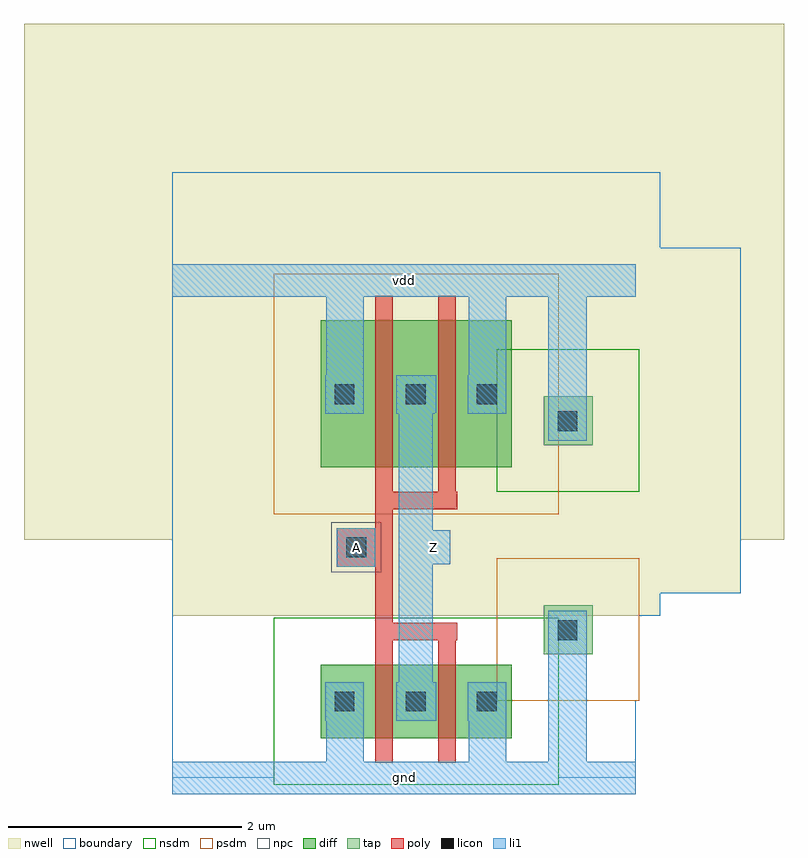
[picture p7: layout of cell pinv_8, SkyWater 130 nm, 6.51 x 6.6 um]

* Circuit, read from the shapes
.subckt pinv_8 A Z gnd vdd
XM1 Z A gnd gnd sky130_fd_pr__nfet_01v8 w=0.63 l=0.15 m=2
XM2 Z A vdd vdd sky130_fd_pr__pfet_01v8 w=1.26 l=0.15 m=2
.ends

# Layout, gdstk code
import gdstk
lib = gdstk.Library(unit=1e-6, precision=1e-09)
def R(c, l, rs):  # rectangles x0, y0, x1, y1
    for r in rs: c.add(gdstk.rectangle(r[:2], r[2:], *l))
nwell = (64, 20)
diff = (65, 20)
tap = (65, 44)
poly = (66, 20)
licon = (66, 44)
li1 = (67, 20)
nsdm = (93, 44)
psdm = (94, 20)
npc = (95, 20)
boundary = (235, 4)

contact_12 = lib.new_cell('contact_12')
R(contact_12, nwell, [(-1.27,-1.27,1.69,1.69)])
R(contact_12, diff, [(0,0,0.42,0.42)])
R(contact_12, licon, [(0.12,0.12,0.29,0.29)])
R(contact_12, li1, [(0.04,0.04,0.37,0.37)])
R(contact_12, psdm, [(-0.4,-0.4,0.82,0.82)])
R(contact_12, boundary, [(-1.27,-1.27,1.69,1.69)])

pmos_m2_w1_260_sli_dli_d = lib.new_cell('pmos_m2_w1_260_sli_dli_da_p')
R(pmos_m2_w1_260_sli_dli_d, nwell, [(-1.27,-1.27,2.91,2.53)])
R(pmos_m2_w1_260_sli_dli_d, diff, [(0,0,1.64,1.26)])
R(pmos_m2_w1_260_sli_dli_d, poly, [(0.47,-0.36,1.17,-0.21), (0.47,-0.21,0.62,1.47), (1.01,-0.21,1.16,1.47)])
R(pmos_m2_w1_260_sli_dli_d, li1, [(0.05,0.47,0.37,0.79), (0.65,0.47,0.99,0.79), (1.27,0.47,1.59,0.79)])
R(pmos_m2_w1_260_sli_dli_d, psdm, [(-0.4,-0.4,2.04,1.66)])
R(pmos_m2_w1_260_sli_dli_d, boundary, [(-1.27,-1.27,2.91,2.53)])
pmos_m2_w1_260_sli_dli_d.add(gdstk.Reference(contact_12, (0,0.42)))
pmos_m2_w1_260_sli_dli_d.add(gdstk.Reference(contact_12, (0.61,0.42)))
pmos_m2_w1_260_sli_dli_d.add(gdstk.Reference(contact_12, (1.22,0.42)))
pmos_m2_w1_260_sli_dli_d.add(gdstk.Label('G', (0.82,-0.285), layer=66, texttype=20))
pmos_m2_w1_260_sli_dli_d.add(gdstk.Label('S', (1.43,0.63), layer=67, texttype=20))
pmos_m2_w1_260_sli_dli_d.add(gdstk.Label('S', (0.21,0.63), layer=67, texttype=20))
pmos_m2_w1_260_sli_dli_d.add(gdstk.Label('D', (0.82,0.63), layer=67, texttype=20))

contact_11 = lib.new_cell('contact_11')
R(contact_11, diff, [(0,0,0.42,0.42)])
R(contact_11, licon, [(0.12,0.12,0.29,0.29)])
R(contact_11, li1, [(0.04,0.04,0.37,0.37)])
R(contact_11, nsdm, [(-0.4,-0.4,0.82,0.82)])
R(contact_11, boundary, [(-0.4,-0.4,0.82,0.82)])

nmos_m2_w0_630_sli_dli_d = lib.new_cell('nmos_m2_w0_630_sli_dli_da_p')
R(nmos_m2_w0_630_sli_dli_d, diff, [(0,0,1.64,0.63)])
R(nmos_m2_w0_630_sli_dli_d, poly, [(0.47,-0.21,0.62,0.84), (1.01,-0.21,1.16,0.84), (0.47,0.84,1.17,0.99)])
R(nmos_m2_w0_630_sli_dli_d, li1, [(0.05,0.15,0.37,0.48), (0.65,0.15,0.99,0.48), (1.27,0.15,1.59,0.48)])
R(nmos_m2_w0_630_sli_dli_d, nsdm, [(-0.4,-0.4,2.04,1.03)])
R(nmos_m2_w0_630_sli_dli_d, boundary, [(-0.4,-0.4,2.04,1.03)])
nmos_m2_w0_630_sli_dli_d.add(gdstk.Reference(contact_11, (0,0.11)))
nmos_m2_w0_630_sli_dli_d.add(gdstk.Reference(contact_11, (0.61,0.11)))
nmos_m2_w0_630_sli_dli_d.add(gdstk.Reference(contact_11, (1.22,0.11)))
nmos_m2_w0_630_sli_dli_d.add(gdstk.Label('G', (0.82,0.915), layer=66, texttype=20))
nmos_m2_w0_630_sli_dli_d.add(gdstk.Label('S', (1.43,0.315), layer=67, texttype=20))
nmos_m2_w0_630_sli_dli_d.add(gdstk.Label('S', (0.21,0.315), layer=67, texttype=20))
nmos_m2_w0_630_sli_dli_d.add(gdstk.Label('D', (0.82,0.315), layer=67, texttype=20))

contact_13 = lib.new_cell('contact_13')
R(contact_13, nwell, [(-1.27,-1.27,1.69,1.69)])
R(contact_13, tap, [(0,0,0.42,0.42)])
R(contact_13, licon, [(0.12,0.12,0.29,0.29)])
R(contact_13, li1, [(0.04,0.04,0.37,0.37)])
R(contact_13, nsdm, [(-0.4,-0.4,0.82,0.82)])
R(contact_13, boundary, [(-1.27,-1.27,1.69,1.69)])

contact_14 = lib.new_cell('contact_14')
R(contact_14, tap, [(0,0,0.42,0.42)])
R(contact_14, licon, [(0.12,0.12,0.29,0.29)])
R(contact_14, li1, [(0.04,0.04,0.37,0.37)])
R(contact_14, psdm, [(-0.4,-0.4,0.82,0.82)])
R(contact_14, boundary, [(-0.4,-0.4,0.82,0.82)])

contact_15 = lib.new_cell('contact_15')
R(contact_15, poly, [(0,0,0.33,0.33)])
R(contact_15, licon, [(0.08,0.08,0.25,0.25)])
R(contact_15, li1, [(0,0,0.33,0.33)])
R(contact_15, npc, [(-0.05,-0.05,0.38,0.38)])
R(contact_15, boundary, [(-0.05,-0.05,0.38,0.38)])

pinv_8 = lib.new_cell('pinv_8')
R(pinv_8, nwell, [(-1.27,2.04,5.24,6.46)])
R(pinv_8, poly, [(1.74,1.33,1.89,2.3), (1.58,1.81,1.74,2.14)])
R(pinv_8, li1, [(0,-0.14,3.97,0.14), (1.32,-0.14,1.64,0.49), (2.54,-0.14,2.86,0.49), (3.22,0,3.55,1.27), (1.94,0.49,2.23,3.45), (1.41,1.81,1.74,2.14), (2.09,1.83,2.38,2.12), (3.22,3.06,3.55,4.26), (1.32,3.13,1.64,4.4), (2.54,3.13,2.86,4.4), (0,4.12,3.97,4.4)])
R(pinv_8, boundary, [(0,0,3.97,4.26), (0,0,3.97,4.26)])
pinv_8.add(gdstk.Reference(pmos_m2_w1_260_sli_dli_d, (1.27,2.66)))
pinv_8.add(gdstk.Reference(nmos_m2_w0_630_sli_dli_d, (1.27,0.34)))
pinv_8.add(gdstk.Reference(contact_13, (3.18,2.85)))
pinv_8.add(gdstk.Reference(contact_14, (3.18,1.06)))
pinv_8.add(gdstk.Reference(contact_15, (1.41,1.81)))
pinv_8.add(gdstk.Label('A', (1.575,1.975), layer=67, texttype=20))
pinv_8.add(gdstk.Label('Z', (2.235,1.975), layer=67, texttype=20))
pinv_8.add(gdstk.Label('gnd', (1.985,0), layer=67, texttype=20))
pinv_8.add(gdstk.Label('vdd', (1.985,4.26), layer=67, texttype=20))

lib.write_gds('pinv_8.gds')
